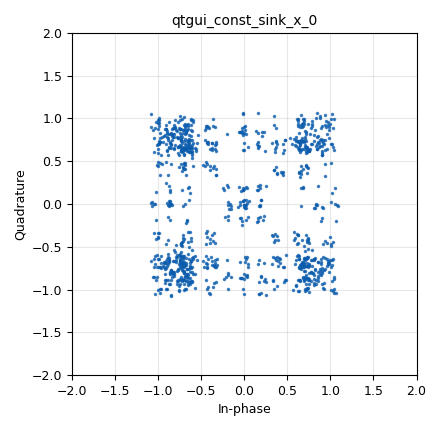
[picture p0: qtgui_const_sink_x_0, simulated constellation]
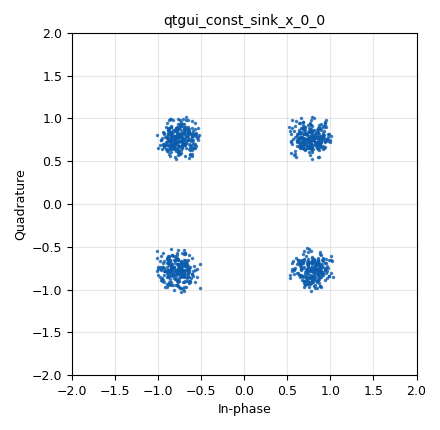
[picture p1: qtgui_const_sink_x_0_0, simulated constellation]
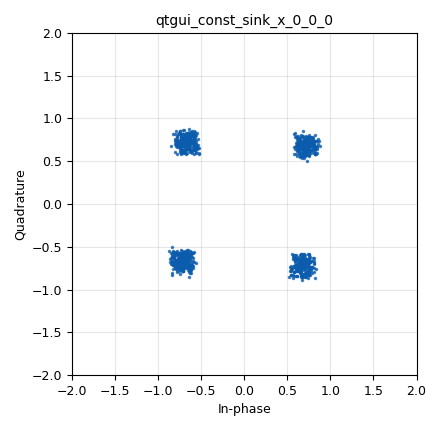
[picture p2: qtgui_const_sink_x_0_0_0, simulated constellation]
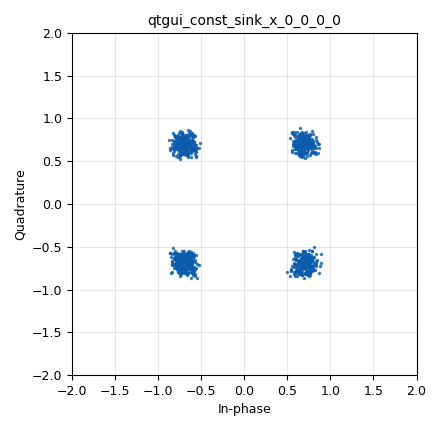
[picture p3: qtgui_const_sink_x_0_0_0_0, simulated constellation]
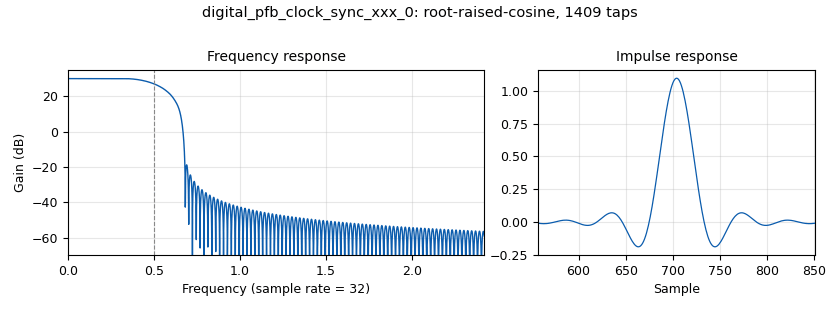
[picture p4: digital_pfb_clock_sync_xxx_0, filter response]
<?xml version='1.0' encoding='utf-8'?>
<?grc format='1' created='3.7.9'?>
<flow_graph>
<block>
<key>options</key>
<param><key>id</key><value>top_block</value></param>
<param><key>category</key><value>Custom</value></param>
<param><key>generate_options</key><value>qt_gui</value></param>
</block>
<block>
<key>variable_qtgui_range</key>
<param><key>id</key><value>BW</value></param>
<param><key>value</key><value>62.8e-3</value></param>
<param><key>gui_hint</key><value>0,3</value></param>
<param><key>orient</key><value>Qt.Horizontal</value></param>
<param><key>start</key><value>-0</value></param>
<param><key>step</key><value>10e-3</value></param>
<param><key>stop</key><value>200e-3</value></param>
</block>
<block>
<key>variable_qtgui_range</key>
<param><key>id</key><value>cma_gain</value></param>
<param><key>value</key><value>10e-3</value></param>
<param><key>gui_hint</key><value>2,1</value></param>
<param><key>orient</key><value>Qt.Horizontal</value></param>
<param><key>start</key><value>0</value></param>
<param><key>step</key><value>1e-3</value></param>
<param><key>stop</key><value>100e-3</value></param>
</block>
<block>
<key>variable</key>
<param><key>id</key><value>const_points</value></param>
<param><key>value</key><value>256</value></param>
</block>
<block>
<key>variable</key>
<param><key>id</key><value>const_points_0</value></param>
<param><key>value</key><value>256</value></param>
</block>
<block>
<key>variable</key>
<param><key>id</key><value>excess_bw</value></param>
<param><key>value</key><value>0.35</value></param>
</block>
<block>
<key>variable_qtgui_range</key>
<param><key>id</key><value>freq_off</value></param>
<param><key>value</key><value>0</value></param>
<param><key>gui_hint</key><value>0,2</value></param>
<param><key>orient</key><value>Qt.Horizontal</value></param>
<param><key>start</key><value>-0.1</value></param>
<param><key>step</key><value>0.001</value></param>
<param><key>stop</key><value>0.1</value></param>
</block>
<block>
<key>variable</key>
<param><key>id</key><value>nfilts</value></param>
<param><key>value</key><value>32</value></param>
</block>
<block>
<key>variable_qtgui_range</key>
<param><key>id</key><value>noise_volt</value></param>
<param><key>value</key><value>100e-6</value></param>
<param><key>gui_hint</key><value>0,0</value></param>
<param><key>orient</key><value>Qt.Horizontal</value></param>
<param><key>start</key><value>0</value></param>
<param><key>step</key><value>0.01</value></param>
<param><key>stop</key><value>1</value></param>
</block>
<block>
<key>variable</key>
<param><key>id</key><value>ntaps</value></param>
<param><key>value</key><value>11*nfilts*sps</value></param>
</block>
<block>
<key>variable_constellation_rect</key>
<param><key>id</key><value>qpsk</value></param>
<param><key>const_points</key><value>[-0.707-0.707j, -0.707+0.707j, 0.707+0.707j, 0.707-0.707j]</value></param>
<param><key>imag_sect</key><value>2</value></param>
<param><key>real_sect</key><value>2</value></param>
<param><key>rot_sym</key><value>4</value></param>
<param><key>sym_map</key><value>[0, 1, 2, 3]</value></param>
<param><key>w_imag_sect</key><value>1</value></param>
<param><key>w_real_sect</key><value>1</value></param>
</block>
<block>
<key>variable</key>
<param><key>id</key><value>rrc_taps</value></param>
<param><key>value</key><value>firdes.root_raised_cosine(nfilts,nfilts,1.0,excess_bw,ntaps)</value></param>
</block>
<block>
<key>variable</key>
<param><key>id</key><value>samp_rate</value></param>
<param><key>value</key><value>32e3</value></param>
</block>
<block>
<key>variable</key>
<param><key>id</key><value>sps</value></param>
<param><key>value</key><value>4</value></param>
</block>
<block>
<key>variable</key>
<param><key>id</key><value>taps</value></param>
<param><key>value</key><value>1</value></param>
</block>
<block>
<key>variable_qtgui_range</key>
<param><key>id</key><value>time_off</value></param>
<param><key>value</key><value>1</value></param>
<param><key>gui_hint</key><value>0,1</value></param>
<param><key>orient</key><value>Qt.Horizontal</value></param>
<param><key>start</key><value>0.999</value></param>
<param><key>step</key><value>100e-6</value></param>
<param><key>stop</key><value>1.001</value></param>
</block>
<block>
<key>analog_random_source_x</key>
<param><key>id</key><value>analog_random_source_x_0</value></param>
<param><key>max</key><value>const_points</value></param>
<param><key>min</key><value>0</value></param>
<param><key>num_samps</key><value>10000</value></param>
<param><key>type</key><value>byte</value></param>
<param><key>repeat</key><value>True</value></param>
</block>
<block>
<key>blocks_throttle</key>
<param><key>id</key><value>blocks_throttle_0</value></param>
<param><key>_enabled</key><value>0</value></param>
<param><key>samples_per_second</key><value>samp_rate</value></param>
<param><key>type</key><value>byte</value></param>
</block>
<block>
<key>blocks_throttle</key>
<param><key>id</key><value>blocks_throttle_0_0</value></param>
<param><key>samples_per_second</key><value>samp_rate</value></param>
<param><key>type</key><value>complex</value></param>
</block>
<block>
<key>blocks_uchar_to_float</key>
<param><key>id</key><value>blocks_uchar_to_float_0</value></param>
<param><key>_enabled</key><value>0</value></param>
</block>
<block>
<key>channels_channel_model</key>
<param><key>id</key><value>channels_channel_model_0</value></param>
<param><key>epsilon</key><value>time_off</value></param>
<param><key>freq_offset</key><value>freq_off</value></param>
<param><key>noise_voltage</key><value>noise_volt</value></param>
<param><key>seed</key><value>0</value></param>
<param><key>taps</key><value>1.0 </value></param>
</block>
<block>
<key>digital_constellation_modulator</key>
<param><key>id</key><value>const</value></param>
<param><key>constellation</key><value>qpsk</value></param>
<param><key>differential</key><value>True</value></param>
<param><key>excess_bw</key><value>excess_bw</value></param>
<param><key>samples_per_symbol</key><value>4</value></param>
</block>
<block>
<key>digital_cma_equalizer_cc</key>
<param><key>id</key><value>digital_cma_equalizer_cc_0</value></param>
<param><key>mu</key><value>cma_gain</value></param>
<param><key>modulus</key><value>1</value></param>
<param><key>num_taps</key><value>11</value></param>
<param><key>sps</key><value>2</value></param>
</block>
<block>
<key>digital_costas_loop_cc</key>
<param><key>id</key><value>digital_costas_loop_cc_0</value></param>
<param><key>w</key><value>BW</value></param>
<param><key>order</key><value>4</value></param>
</block>
<block>
<key>digital_pfb_clock_sync_xxx</key>
<param><key>id</key><value>digital_pfb_clock_sync_xxx_0</value></param>
<param><key>filter_size</key><value>32</value></param>
<param><key>init_phase</key><value>16</value></param>
<param><key>loop_bw</key><value>BW</value></param>
<param><key>max_dev</key><value>1.5</value></param>
<param><key>osps</key><value>1</value></param>
<param><key>sps</key><value>4.004</value></param>
<param><key>taps</key><value>rrc_taps</value></param>
<param><key>type</key><value>ccf</value></param>
</block>
<block>
<key>qtgui_const_sink_x</key>
<param><key>id</key><value>qtgui_const_sink_x_0</value></param>
<param><key>alias</key><value>square</value></param>
<param><key>gui_hint</key><value>1,1</value></param>
<param><key>legend</key><value>False</value></param>
<param><key>color1</key><value>"green"</value></param>
<param><key>marker1</key><value>1</value></param>
<param><key>size</key><value>1024</value></param>
<param><key>type</key><value>complex</value></param>
</block>
<block>
<key>qtgui_const_sink_x</key>
<param><key>id</key><value>qtgui_const_sink_x_0_0</value></param>
<param><key>gui_hint</key><value>1,2</value></param>
<param><key>legend</key><value>False</value></param>
<param><key>color1</key><value>"green"</value></param>
<param><key>marker1</key><value>1</value></param>
<param><key>size</key><value>1024</value></param>
<param><key>type</key><value>complex</value></param>
</block>
<block>
<key>qtgui_const_sink_x</key>
<param><key>id</key><value>qtgui_const_sink_x_0_0_0</value></param>
<param><key>gui_hint</key><value>1,3</value></param>
<param><key>legend</key><value>False</value></param>
<param><key>color1</key><value>"green"</value></param>
<param><key>marker1</key><value>1</value></param>
<param><key>size</key><value>1024</value></param>
<param><key>type</key><value>complex</value></param>
</block>
<block>
<key>qtgui_const_sink_x</key>
<param><key>id</key><value>qtgui_const_sink_x_0_0_0_0</value></param>
<param><key>gui_hint</key><value>1,0</value></param>
<param><key>legend</key><value>False</value></param>
<param><key>color1</key><value>"green"</value></param>
<param><key>marker1</key><value>1</value></param>
<param><key>size</key><value>1024</value></param>
<param><key>type</key><value>complex</value></param>
</block>
<block>
<key>qtgui_const_sink_x</key>
<param><key>id</key><value>qtgui_const_sink_x_0_1</value></param>
<param><key>alias</key><value>inline</value></param>
<param><key>_enabled</key><value>0</value></param>
<param><key>gui_hint</key><value>1,0</value></param>
<param><key>legend</key><value>False</value></param>
<param><key>color1</key><value>"green"</value></param>
<param><key>marker1</key><value>1</value></param>
<param><key>size</key><value>1024</value></param>
<param><key>type</key><value>complex</value></param>
</block>
<block>
<key>qtgui_histogram_sink_x</key>
<param><key>id</key><value>qtgui_histogram_sink_x_0</value></param>
<param><key>_enabled</key><value>0</value></param>
<param><key>xmax</key><value>256</value></param>
<param><key>xmin</key><value>0</value></param>
<param><key>bins</key><value>256</value></param>
<param><key>size</key><value>100</value></param>
<param><key>type</key><value>float</value></param>
</block>
<block>
<key>qtgui_time_sink_x</key>
<param><key>id</key><value>qtgui_time_sink_x_0</value></param>
<param><key>autoscale</key><value>True</value></param>
<param><key>_enabled</key><value>0</value></param>
<param><key>color1</key><value>"blue"</value></param>
<param><key>label1</key><value></value></param>
<param><key>size</key><value>1024</value></param>
<param><key>srate</key><value>samp_rate</value></param>
<param><key>type</key><value>float</value></param>
</block>
<connection><source_block_id>analog_random_source_x_0</source_block_id><sink_block_id>blocks_throttle_0</sink_block_id><source_key>0</source_key><sink_key>0</sink_key></connection>
<connection><source_block_id>analog_random_source_x_0</source_block_id><sink_block_id>const</sink_block_id><source_key>0</source_key><sink_key>0</sink_key></connection>
<connection><source_block_id>blocks_throttle_0</source_block_id><sink_block_id>blocks_uchar_to_float_0</sink_block_id><source_key>0</source_key><sink_key>0</sink_key></connection>
<connection><source_block_id>blocks_throttle_0_0</source_block_id><sink_block_id>channels_channel_model_0</sink_block_id><source_key>0</source_key><sink_key>0</sink_key></connection>
<connection><source_block_id>blocks_throttle_0_0</source_block_id><sink_block_id>qtgui_const_sink_x_0_1</sink_block_id><source_key>0</source_key><sink_key>0</sink_key></connection>
<connection><source_block_id>blocks_uchar_to_float_0</source_block_id><sink_block_id>qtgui_histogram_sink_x_0</sink_block_id><source_key>0</source_key><sink_key>0</sink_key></connection>
<connection><source_block_id>blocks_uchar_to_float_0</source_block_id><sink_block_id>qtgui_time_sink_x_0</sink_block_id><source_key>0</source_key><sink_key>0</sink_key></connection>
<connection><source_block_id>channels_channel_model_0</source_block_id><sink_block_id>digital_pfb_clock_sync_xxx_0</sink_block_id><source_key>0</source_key><sink_key>0</sink_key></connection>
<connection><source_block_id>channels_channel_model_0</source_block_id><sink_block_id>qtgui_const_sink_x_0</sink_block_id><source_key>0</source_key><sink_key>0</sink_key></connection>
<connection><source_block_id>const</source_block_id><sink_block_id>blocks_throttle_0_0</sink_block_id><source_key>0</source_key><sink_key>0</sink_key></connection>
<connection><source_block_id>digital_cma_equalizer_cc_0</source_block_id><sink_block_id>digital_costas_loop_cc_0</sink_block_id><source_key>0</source_key><sink_key>0</sink_key></connection>
<connection><source_block_id>digital_cma_equalizer_cc_0</source_block_id><sink_block_id>qtgui_const_sink_x_0_0_0</sink_block_id><source_key>0</source_key><sink_key>0</sink_key></connection>
<connection><source_block_id>digital_costas_loop_cc_0</source_block_id><sink_block_id>qtgui_const_sink_x_0_0_0_0</sink_block_id><source_key>0</source_key><sink_key>0</sink_key></connection>
<connection><source_block_id>digital_pfb_clock_sync_xxx_0</source_block_id><sink_block_id>digital_cma_equalizer_cc_0</sink_block_id><source_key>0</source_key><sink_key>0</sink_key></connection>
<connection><source_block_id>digital_pfb_clock_sync_xxx_0</source_block_id><sink_block_id>qtgui_const_sink_x_0_0</sink_block_id><source_key>0</source_key><sink_key>0</sink_key></connection>
</flow_graph>
